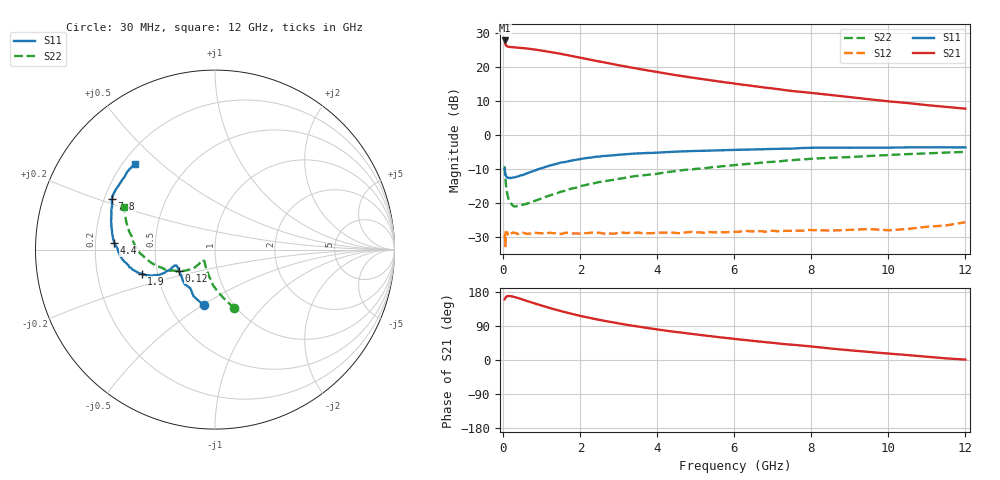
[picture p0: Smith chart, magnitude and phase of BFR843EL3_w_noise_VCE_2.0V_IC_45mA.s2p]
! Infineon Technologies  Discrete & RF Semiconductors
! BFR843EL3
! VCE =  2.0 V,  IC =  45 mA
! Common Emitter S-Parameters:  Aug 2013
# GHz  S  MA  R  50
!  f  S11  S21  S12  S22
! GHz  MAG  ANG  MAG  ANG  MAG  ANG  MAG  ANG
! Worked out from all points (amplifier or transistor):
!   103 points, 30 MHz to 12 GHz, reference 50 ohm
!   highest |S21| = 27.8 dB at 30 MHz (marker M1)
!   |S21| within 3 dB of that: start of sweep to 1.002 GHz
!   unconditionally stable (mu >= 1): 46.29 MHz to 54.61 MHz; 101.1 MHz to end of sweep
!   at 400 MHz: K = 1.04, MAG = 26.3 dB, |S12| = -29.3 dB
!   at 3.7 GHz: K = 1.14, MAG = 21.8 dB, |S12| = -29.0 dB
!   at 12 GHz: K = 1.80, MAG = 11.6 dB, |S12| = -25.8 dB
!   lowest NFmin = 1.64 dB at 450 MHz
!   S11 on the Smith chart (normalised r, x): 30 MHz: 0.73, -0.51; 120 MHz: 0.65, -0.16; 1.9 GHz: 0.41, -0.13; 4.4 GHz: 0.28, +0.03; 7.8 GHz: 0.23, +0.22; 12 GHz: 0.25, +0.41
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0.03  0.3174 -101.3  24.64 160.1  0.0309 29.0  0.3444 -71.9
0.04  0.2857 -114.8  22.87 161.9  0.0332 20.2  0.273 -80.2
0.06  0.2565 -130.9  21.1 165.4  0.037 22.8  0.1984 -93.2
0.09  0.237 -143.9  20.3 167.9  0.0358 10.7  0.1434 -104.8
0.12  0.2336 -149.8  19.99 168.7  0.0362 8.3  0.1184 -112.7
0.25  0.2347 -157.9  19.57 167.2  0.0362 4.7  0.0897 -130.1
0.6  0.269 -156.3  18.78 156.2  0.0347 3.0  0.0961 -137.4
0.8  0.2951 -156.0  18.15 149.6  0.036 4.1  0.1054 -138.5
1.1  0.3373 -155.6  17.09 140.4  0.0351 4.6  0.1221 -137.8
1.5  0.3905 -158.3  15.59 128.9  0.0344 5.0  0.1455 -138.7
1.9  0.4297 -161.8  14.06 118.7  0.0351 5.3  0.1662 -139.8
2.1  0.4495 -163.5  13.36 114.1  0.0354 5.6  0.1799 -141.9
2.6  0.4878 -168.6  11.74 103.8  0.0348 6.4  0.2053 -145.0
3  0.509 -172.3  10.61 96.5  0.0358 7.7  0.225 -147.6
3.5  0.5323 -177.0  9.426 88.2  0.0362 9.7  0.2481 -151.6
4.1  0.5499 178.3  8.254 79.2  0.036 11.5  0.2728 -154.3
4.4  0.562 176.2  7.708 75.0  0.0362 12.8  0.2884 -156.5
6.1  0.6021 164.2  5.597 54.6  0.0371 17.5  0.3626 -168.3
7.8  0.6402 153.9  4.265 37.6  0.0387 21.8  0.4361 179.5
8.5  0.6464 148.8  3.867 30.3  0.0387 21.9  0.4588 174.1
10.5  0.653 138.7  2.943 13.0  0.0409 33.5  0.5196 162.3
12  0.6516 133.3  2.431 1.1  0.0514 42.0  0.5602 155.0
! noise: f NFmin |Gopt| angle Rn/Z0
0.45  1.64  0.27  181  0.12
0.9  1.67  0.29  182  0.12
1.5  1.68  0.3  183  0.11
1.9  1.69  0.31  -177  0.12
2.4  1.7  0.33  188  0.11
3.5  1.72  0.36  193  0.12
5.5  1.76  0.42  203  0.11
8  1.81  0.52  216  0.14
10  1.84  0.57  232  0.2
